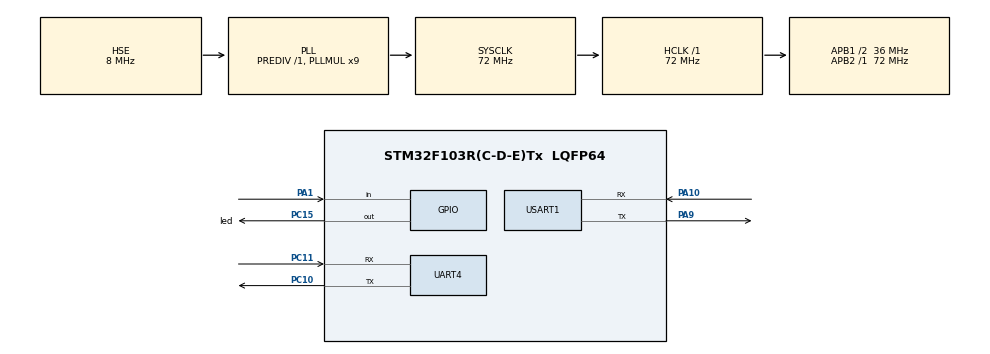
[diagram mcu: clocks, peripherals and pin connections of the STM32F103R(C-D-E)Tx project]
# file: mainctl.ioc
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Dma.Request0=USART1_RX
Dma.Request1=UART4_RX
Dma.Request2=UART4_TX
Dma.Request3=USART1_TX
Dma.UART4_RX.1.Direction=DMA_PERIPH_TO_MEMORY
Dma.UART4_RX.1.Instance=DMA2_Channel3
Dma.UART4_RX.1.MemDataAlignment=DMA_MDATAALIGN_BYTE
Dma.UART4_RX.1.MemInc=DMA_MINC_ENABLE
Dma.UART4_RX.1.Mode=DMA_NORMAL
Dma.UART4_RX.1.PeriphDataAlignment=DMA_PDATAALIGN_BYTE
Dma.UART4_RX.1.PeriphInc=DMA_PINC_DISABLE
Dma.UART4_RX.1.Priority=DMA_PRIORITY_LOW
Dma.UART4_TX.2.Direction=DMA_MEMORY_TO_PERIPH
Dma.UART4_TX.2.Instance=DMA2_Channel5
Dma.UART4_TX.2.MemDataAlignment=DMA_MDATAALIGN_BYTE
Dma.UART4_TX.2.MemInc=DMA_MINC_ENABLE
Dma.UART4_TX.2.Mode=DMA_NORMAL
Dma.UART4_TX.2.PeriphDataAlignment=DMA_PDATAALIGN_BYTE
Dma.UART4_TX.2.PeriphInc=DMA_PINC_DISABLE
Dma.UART4_TX.2.Priority=DMA_PRIORITY_LOW
Dma.USART1_RX.0.Direction=DMA_PERIPH_TO_MEMORY
Dma.USART1_RX.0.Instance=DMA1_Channel5
Dma.USART1_RX.0.MemDataAlignment=DMA_MDATAALIGN_BYTE
Dma.USART1_RX.0.MemInc=DMA_MINC_ENABLE
Dma.USART1_RX.0.Mode=DMA_NORMAL
Dma.USART1_RX.0.PeriphDataAlignment=DMA_PDATAALIGN_BYTE
Dma.USART1_RX.0.PeriphInc=DMA_PINC_DISABLE
Dma.USART1_RX.0.Priority=DMA_PRIORITY_LOW
Dma.USART1_TX.3.Direction=DMA_MEMORY_TO_PERIPH
Dma.USART1_TX.3.Instance=DMA1_Channel4
Dma.USART1_TX.3.MemDataAlignment=DMA_MDATAALIGN_BYTE
Dma.USART1_TX.3.MemInc=DMA_MINC_ENABLE
Dma.USART1_TX.3.Mode=DMA_NORMAL
Dma.USART1_TX.3.PeriphDataAlignment=DMA_PDATAALIGN_BYTE
Dma.USART1_TX.3.PeriphInc=DMA_PINC_DISABLE
Dma.USART1_TX.3.Priority=DMA_PRIORITY_LOW
FREERTOS.Tasks01=defaultTask,24,128,StartDefaultTask,Default,NULL,Dynamic,NULL,NULL
Mcu.Family=STM32F1
Mcu.Name=STM32F103R(C-D-E)Tx
Mcu.Package=LQFP64
NVIC.DMA1_Channel4_IRQn=true\:5\:0\:false\:false\:true\:true\:false\:true\:true
NVIC.DMA1_Channel5_IRQn=true\:5\:0\:false\:false\:true\:true\:false\:true\:true
NVIC.DMA2_Channel3_IRQn=true\:5\:0\:false\:false\:true\:true\:false\:true\:true
NVIC.DMA2_Channel4_5_IRQn=true\:5\:0\:false\:false\:true\:true\:false\:true\:true
NVIC.PriorityGroup=NVIC_PRIORITYGROUP_4
NVIC.UART4_IRQn=true\:5\:0\:false\:false\:true\:true\:true\:true\:true
NVIC.USART1_IRQn=true\:5\:0\:false\:false\:true\:true\:true\:true\:true
PA1.Signal=GPIO_Input
PA10.Mode=Asynchronous
PA10.Signal=USART1_RX
PA13.Mode=Serial_Wire
PA13.Signal=SYS_JTMS-SWDIO
PA14.Mode=Serial_Wire
PA14.Signal=SYS_JTCK-SWCLK
PA9.Mode=Asynchronous
PA9.Signal=USART1_TX
PC10.Mode=Asynchronous
PC10.Signal=UART4_TX
PC11.Mode=Asynchronous
PC11.Signal=UART4_RX
PC15-OSC32_OUT.GPIO_Label=led
PC15-OSC32_OUT.Signal=GPIO_Output
PD0-OSC_IN.Mode=HSE-External-Oscillator
PD0-OSC_IN.Signal=RCC_OSC_IN
PD1-OSC_OUT.Mode=HSE-External-Oscillator
PD1-OSC_OUT.Signal=RCC_OSC_OUT
ProjectManager.HeapSize=0x200
ProjectManager.StackSize=0x400
ProjectManager.TargetToolchain=MDK-ARM V5.32
RCC.AHBFreq_Value=72000000
RCC.APB1CLKDivider=RCC_HCLK_DIV2
RCC.APB1Freq_Value=36000000
RCC.APB1TimFreq_Value=72000000
RCC.APB2Freq_Value=72000000
RCC.APB2TimFreq_Value=72000000
RCC.HCLKFreq_Value=72000000
RCC.PLLMUL=RCC_PLL_MUL9
RCC.PLLSourceVirtual=RCC_PLLSOURCE_HSE
RCC.SYSCLKFreq_VALUE=72000000
RCC.SYSCLKSource=RCC_SYSCLKSOURCE_PLLCLK
RCC.USBFreq_Value=72000000
UART4.VirtualMode=Asynchronous
USART1.VirtualMode=VM_ASYNC
VP_FREERTOS_VS_CMSIS_V2.Mode=CMSIS_V2
board=custom

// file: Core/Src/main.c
/* USER CODE BEGIN Header */
/**
  ******************************************************************************
  * @file           : main.c
  * @brief          : Main program body
  ******************************************************************************
  * @attention
  *
  * Copyright (c) 2023 STMicroelectronics.
  * All rights reserved.
  *
  * This software is licensed under terms that can be found in the LICENSE file
  * in the root directory of this software component.
  * If no LICENSE file comes with this software, it is provided AS-IS.
  *
  ******************************************************************************
  */
/* USER CODE END Header */
#include "main.h"
#include "cmsis_os.h"
#include "dma.h"
#include "usart.h"
#include "gpio.h"

void SystemClock_Config(void);
void MX_FREERTOS_Init(void);

int main(void)
{

  /* MCU Configuration--------------------------------------------------------*/

  /* Reset of all peripherals, Initializes the Flash interface and the Systick. */
  HAL_Init();

  /* Configure the system clock */
  SystemClock_Config();

  /* Initialize all configured peripherals */
  MX_GPIO_Init();
  MX_DMA_Init();
  MX_USART1_UART_Init();
  MX_UART4_Init();
  /* USER CODE BEGIN 2 */

  __HAL_UART_ENABLE_IT(&huart4, UART_IT_IDLE);
  HAL_UART_Receive_DMA(&huart4, uart4Dma.buf,RXBUF_SIZE);

  __HAL_UART_ENABLE_IT(&huart1, UART_IT_IDLE);
  HAL_UART_Receive_DMA(&huart1, uart1Dma.buf,RXBUF_SIZE);
  /* USER CODE END 2 */

  /* Init scheduler */
  osKernelInitialize();  /* Call init function for freertos objects (in freertos.c) */
  MX_FREERTOS_Init();

  /* Start scheduler */
  osKernelStart();

  /* We should never get here as control is now taken by the scheduler */
  /* Infinite loop */
  while (1)
  {
  }
}

void SystemClock_Config(void)
{
  RCC_OscInitTypeDef RCC_OscInitStruct = {0};
  RCC_ClkInitTypeDef RCC_ClkInitStruct = {0};

  /** Initializes the RCC Oscillators according to the specified parameters
  * in the RCC_OscInitTypeDef structure.
  */
  RCC_OscInitStruct.OscillatorType = RCC_OSCILLATORTYPE_HSE;
  RCC_OscInitStruct.HSEState = RCC_HSE_ON;
  RCC_OscInitStruct.HSEPredivValue = RCC_HSE_PREDIV_DIV1;
  RCC_OscInitStruct.HSIState = RCC_HSI_ON;
  RCC_OscInitStruct.PLL.PLLState = RCC_PLL_ON;
  RCC_OscInitStruct.PLL.PLLSource = RCC_PLLSOURCE_HSE;
  RCC_OscInitStruct.PLL.PLLMUL = RCC_PLL_MUL9;
  if (HAL_RCC_OscConfig(&RCC_OscInitStruct) != HAL_OK)
  {
    Error_Handler();
  }

  /** Initializes the CPU, AHB and APB buses clocks
  */
  RCC_ClkInitStruct.ClockType = RCC_CLOCKTYPE_HCLK|RCC_CLOCKTYPE_SYSCLK
                              |RCC_CLOCKTYPE_PCLK1|RCC_CLOCKTYPE_PCLK2;
  RCC_ClkInitStruct.SYSCLKSource = RCC_SYSCLKSOURCE_PLLCLK;
  RCC_ClkInitStruct.AHBCLKDivider = RCC_SYSCLK_DIV1;
  RCC_ClkInitStruct.APB1CLKDivider = RCC_HCLK_DIV2;
  RCC_ClkInitStruct.APB2CLKDivider = RCC_HCLK_DIV1;

  if (HAL_RCC_ClockConfig(&RCC_ClkInitStruct, FLASH_LATENCY_2) != HAL_OK)
  {
    Error_Handler();
  }
}

void Error_Handler(void)
{
  __disable_irq();
  while (1)
  {
  }
}

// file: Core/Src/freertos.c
/* USER CODE BEGIN Header */
/**
  ******************************************************************************
  * File Name          : freertos.c
  * Description        : Code for freertos applications
  ******************************************************************************
  * @attention
  *
  * Copyright (c) 2023 STMicroelectronics.
  * All rights reserved.
  *
  * This software is licensed under terms that can be found in the LICENSE file
  * in the root directory of this software component.
  * If no LICENSE file comes with this software, it is provided AS-IS.
  *
  ******************************************************************************
  */
/* USER CODE END Header */

#include "FreeRTOS.h"
#include "task.h"
#include "main.h"
#include "cmsis_os.h"

/* USER CODE BEGIN Includes */
#include "key.h"
#include "commun.h"
/* USER CODE END Includes */

/* Definitions for defaultTask */
osThreadId_t defaultTaskHandle;
const osThreadAttr_t defaultTask_attributes = {
  .name = "defaultTask",
  .stack_size = 128 * 4,
  .priority = (osPriority_t) osPriorityNormal,
};

/* USER CODE BEGIN FunctionPrototypes */
osThreadId_t keyTaskHandle;
const osThreadAttr_t keyTaskHandle_attributes = {
  .name = "keyTaskHandle",
  .stack_size = 128 * 4,
  .priority = (osPriority_t) osPriorityNormal,
};
void keyTask(void *argument);

osThreadId_t cmdTaskHandle;
const osThreadAttr_t cmdTaskHandle_attributes = {
  .name = "cmdTaskHandle",
  .stack_size = 256 * 4,
  .priority = (osPriority_t) osPriorityNormal,
};
void cmdTask(void *argument);

/* USER CODE END FunctionPrototypes */

void StartDefaultTask(void *argument);

void MX_FREERTOS_Init(void); /* (MISRA C 2004 rule 8.1) */

void MX_FREERTOS_Init(void) {

  /* Create the thread(s) */
  /* creation of defaultTask */
  defaultTaskHandle = osThreadNew(StartDefaultTask, NULL, &defaultTask_attributes);

  /* USER CODE BEGIN RTOS_THREADS */
  /* add threads, ... */

	keyTaskHandle = osThreadNew(keyTask, NULL, &keyTaskHandle_attributes);
	cmdTaskHandle = osThreadNew(cmdTask, NULL, &cmdTaskHandle_attributes);

  /* USER CODE END RTOS_THREADS */

}

/* USER CODE BEGIN Header_StartDefaultTask */
void powerCtrlInit(void);
void powerTest(void);
void packDatToBus(cmdTypedef cmd, funsionType fun, uint32_t val);
/**
  * @brief  Function implementing the defaultTask thread.
  * @param  argument: Not used
  * @retval None
  */
/* USER CODE END Header_StartDefaultTask */
void StartDefaultTask(void *argument)
{
  /* USER CODE BEGIN StartDefaultTask */
  /* Infinite loop */
  powerCtrlInit();
  for(;;)
  {

	//packDatToBus(AUTO_REPORT_CMD, KEY_STATUS, 0x00);
    powerTest();
	osDelay(200);
  }
  /* USER CODE END StartDefaultTask */
}
